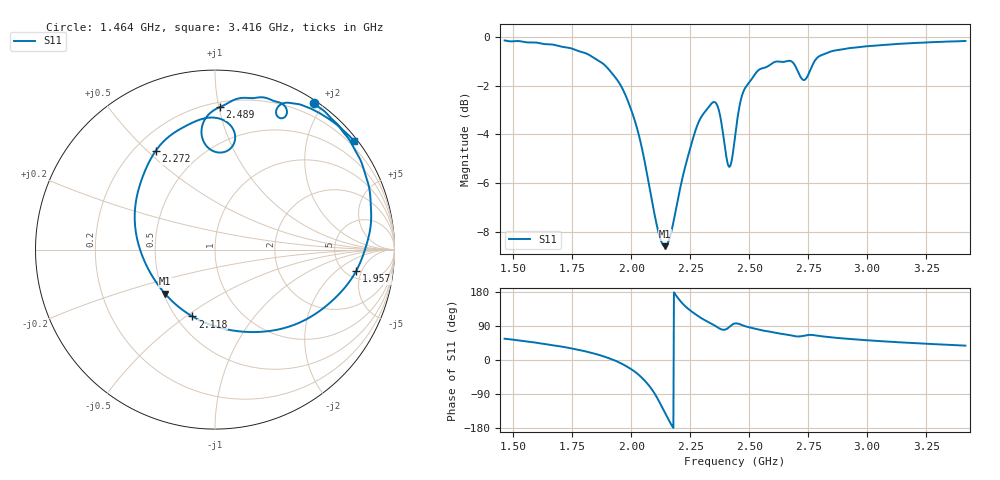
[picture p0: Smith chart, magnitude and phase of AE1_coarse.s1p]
! AE1 openEMS coarse: lumped port at the feed pad (vertical F.Cu -> B.Cu), not de-embedded
# Hz S RI R 50
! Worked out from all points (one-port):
!   801 points, 1.464 GHz to 3.416 GHz, reference 50 ohm
!   lowest |S11| = -8.6 dB at 2.142 GHz (marker M1), VSWR 2.18, Z = 25.4 - j14.5 ohm
!   |S11| at or under -10 dB: nowhere
!   S11 on the Smith chart (normalised r, x): 1.464 GHz: 0.03, +1.88; 1.957 GHz: 6.08, -3.99; 2.118 GHz: 0.60, -0.53; 2.272 GHz: 0.28, +0.53; 2.489 GHz: 0.23, +1.01; 3.416 GHz: 0.08, +2.91
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1.464e9  0.5494 0.8184
1.708e9  0.7827 0.5498
1.8666e9  0.8701 0.2
1.952e9  0.7958 -0.101
1.95688e9  0.7855 -0.1208
2.00812e9  0.6133 -0.3189
2.05204e9  0.3608 -0.4434
2.0862e9  0.1117 -0.4526
2.11792e9  -0.1257 -0.3723
2.14232e9  -0.278 -0.2462
2.196e9  -0.4435 0.1153
2.22772e9  -0.4284 0.326
2.27164e9  -0.3312 0.5489
2.30336e9  -0.2162 0.6585
2.34484e9  -0.0561 0.7318
2.38388e9  0.1089 0.6509
2.41316e9  0.0395 0.5412
2.44e9  -0.07 0.619
2.4644e9  -0.0457 0.7411
2.4888e9  0.0271 0.794
2.5986e9  0.2516 0.8486
2.684e9  0.389 0.7993
2.72304e9  0.3738 0.7319
2.7572e9  0.3427 0.7807
2.7938e9  0.4037 0.8185
2.928e9  0.5406 0.7823
3.172e9  0.6812 0.6934
3.416e9  0.7757 0.6042
